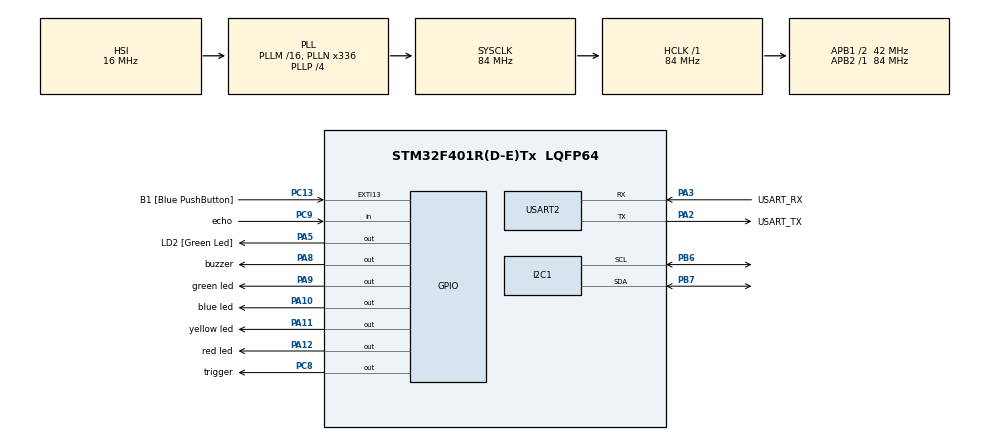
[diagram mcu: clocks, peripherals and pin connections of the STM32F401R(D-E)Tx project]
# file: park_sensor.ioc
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Mcu.Family=STM32F4
Mcu.Name=STM32F401R(D-E)Tx
Mcu.Package=LQFP64
NVIC.PriorityGroup=NVIC_PRIORITYGROUP_0
PA10.GPIO_Label=blue led
PA10.Signal=GPIO_Output
PA11.GPIO_Label=yellow led
PA11.Signal=GPIO_Output
PA12.GPIO_Label=red led
PA12.Signal=GPIO_Output
PA13.GPIO_Label=TMS
PA13.Mode=Serial_Wire
PA13.Signal=SYS_JTMS-SWDIO
PA14.GPIO_Label=TCK
PA14.Mode=Serial_Wire
PA14.Signal=SYS_JTCK-SWCLK
PA2.GPIO_Label=USART_TX
PA2.GPIO_Mode=GPIO_MODE_AF_PP
PA2.GPIO_PuPd=GPIO_NOPULL
PA2.GPIO_Speed=GPIO_SPEED_FREQ_LOW
PA2.Mode=Asynchronous
PA2.Signal=USART2_TX
PA3.GPIO_Label=USART_RX
PA3.GPIO_Mode=GPIO_MODE_AF_PP
PA3.GPIO_PuPd=GPIO_NOPULL
PA3.GPIO_Speed=GPIO_SPEED_FREQ_LOW
PA3.Mode=Asynchronous
PA3.Signal=USART2_RX
PA5.GPIO_Label=LD2 [Green Led]
PA5.GPIO_Mode=GPIO_MODE_OUTPUT_PP
PA5.GPIO_PuPd=GPIO_NOPULL
PA5.GPIO_Speed=GPIO_SPEED_FREQ_LOW
PA5.Signal=GPIO_Output
PA8.GPIO_Label=buzzer
PA8.Signal=GPIO_Output
PA9.GPIO_Label=green led
PA9.Signal=GPIO_Output
PB3.GPIO_Label=SWO
PB3.Signal=SYS_JTDO-SWO
PB6.Mode=I2C
PB6.Signal=I2C1_SCL
PB7.Mode=I2C
PB7.Signal=I2C1_SDA
PC13-ANTI_TAMP.GPIO_Label=B1 [Blue PushButton]
PC13-ANTI_TAMP.GPIO_ModeDefaultEXTI=GPIO_MODE_IT_FALLING
PC13-ANTI_TAMP.GPIO_PuPd=GPIO_NOPULL
PC13-ANTI_TAMP.Signal=GPXTI13
PC14-OSC32_IN.Mode=LSE-External-Oscillator
PC14-OSC32_IN.Signal=RCC_OSC32_IN
PC15-OSC32_OUT.Mode=LSE-External-Oscillator
PC15-OSC32_OUT.Signal=RCC_OSC32_OUT
PC8.GPIO_Label=trigger
PC8.Signal=GPIO_Output
PC9.GPIO_Label=echo
PC9.Signal=GPIO_Input
PH0\ -\ OSC_IN.Mode=HSE-External-Clock-Source
PH0\ -\ OSC_IN.Signal=RCC_OSC_IN
PH1\ -\ OSC_OUT.Mode=HSE-External-Clock-Source
PH1\ -\ OSC_OUT.Signal=RCC_OSC_OUT
ProjectManager.HeapSize=0x200
ProjectManager.StackSize=0x400
ProjectManager.TargetToolchain=STM32CubeIDE
RCC.48MHZClocksFreq_Value=48000000
RCC.AHBFreq_Value=84000000
RCC.APB1CLKDivider=RCC_HCLK_DIV2
RCC.APB1Freq_Value=42000000
RCC.APB1TimFreq_Value=84000000
RCC.APB2Freq_Value=84000000
RCC.APB2TimFreq_Value=84000000
RCC.CortexFreq_Value=84000000
RCC.HCLKFreq_Value=84000000
RCC.HSE_VALUE=8000000
RCC.HSI_VALUE=16000000
RCC.PLLN=336
RCC.PLLP=RCC_PLLP_DIV4
RCC.PLLQ=7
RCC.SYSCLKFreq_VALUE=84000000
RCC.SYSCLKSource=RCC_SYSCLKSOURCE_PLLCLK
RCC.VCOOutputFreq_Value=336000000
USART2.VirtualMode=VM_ASYNC
board=NUCLEO-F401RE

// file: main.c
/* USER CODE BEGIN Header */
/**
  ******************************************************************************
  * @file           : main.c
  * @brief          : Main program body
  ******************************************************************************
  * @attention
  *
  * Copyright (c) 2024 STMicroelectronics.
  * All rights reserved.
  *
  * This software is licensed under terms that can be found in the LICENSE file
  * in the root directory of this software component.
  * If no LICENSE file comes with this software, it is provided AS-IS.
  *
  ******************************************************************************
  */
/* USER CODE END Header */
#include "main.h"

/* USER CODE BEGIN Includes */
#include "string.h"
#include "lcd16x2_i2c.h"
#include "dwt_stm32_delay.h"
#include <stdbool.h>
/* USER CODE END Includes */

I2C_HandleTypeDef hi2c1;

UART_HandleTypeDef huart2;

/* USER CODE BEGIN PV */
uint32_t sensor_data;
uint32_t mesafe;
/* USER CODE END PV */

void SystemClock_Config(void);
static void MX_GPIO_Init(void);
static void MX_USART2_UART_Init(void);
static void MX_I2C1_Init(void);

/* USER CODE BEGIN 0 */
char mesafe_str[15];
uint32_t Read_sensor() {
	uint32_t time=0;

	HAL_GPIO_WritePin(GPIOC, GPIO_PIN_8,GPIO_PIN_SET);
	DWT_Delay_us(10);
	HAL_GPIO_WritePin(GPIOC, GPIO_PIN_8,GPIO_PIN_RESET);
	while (!HAL_GPIO_ReadPin(GPIOC, GPIO_PIN_9));
	while (HAL_GPIO_ReadPin(GPIOC, GPIO_PIN_9)) {
		time++;
		DWT_Delay_us(1);
	}
	return time;
}
/* USER CODE END 0 */

int main(void)
{

  /* MCU Configuration--------------------------------------------------------*/

  /* Reset of all peripherals, Initializes the Flash interface and the Systick. */
  HAL_Init();

  /* Configure the system clock */
  SystemClock_Config();

  /* Initialize all configured peripherals */
  MX_GPIO_Init();
  MX_USART2_UART_Init();
  MX_I2C1_Init();
  DWT_Delay_Init();
  lcd16x2_i2c_init(&hi2c1);
  /* USER CODE BEGIN 2 */
 void ekran() {
	 lcd16x2_i2c_printf(mesafe_str);
		  HAL_Delay(200);
		  lcd16x2_i2c_sethome();
		  HAL_Delay(100);
		  lcd16x2_i2c_clear();

 }
 void buzzer(int a) {
	   static bool d = true; // d değişkenini fonksiyon çağrıları arasında saklamak için static olarak tanımlıyoruz
	    static uint32_t last_time = 0; // fonksiyon ilk çağrıldığında zamanı sıfırlıyoruz
	    uint32_t current_time = HAL_GetTick();
	    if(current_time - last_time >= a) {
	        if (d ==0) {
	        	d=1;
	        } else {
	        	d=0;
	        }
	        HAL_GPIO_WritePin(GPIOA, buzzer_Pin, d);
	        last_time = current_time; // son zamanı güncelliyoruz
	    }
	 }

  /* USER CODE END 2 */

  /* Infinite loop */
  /* USER CODE BEGIN WHILE */
  lcd16x2_i2c_clear();
  while (1)
  {

    /* USER CODE END WHILE */

    /* USER CODE BEGIN 3 */

	  sensor_data = Read_sensor();
	  mesafe = sensor_data*0.034/2;
	  sprintf(mesafe_str, "mesafe: %u", mesafe);
	  lcd16x2_i2c_printf(mesafe_str);
	  lcd16x2_i2c_sethome();
	  HAL_Delay(100);
	  lcd16x2_i2c_clear();
	  if (mesafe <= 5) {
	      HAL_GPIO_WritePin(GPIOA, red_led_Pin | yellow_led_Pin | blue_led_Pin | green_led_Pin, GPIO_PIN_SET);
	      ekran();
	      HAL_GPIO_WritePin(GPIOA, buzzer_Pin, 1);
	  } else if (mesafe > 5 && mesafe <= 10) {
	      HAL_GPIO_WritePin(GPIOA, yellow_led_Pin | blue_led_Pin | green_led_Pin, GPIO_PIN_SET);
	      HAL_GPIO_WritePin(GPIOA, red_led_Pin, GPIO_PIN_RESET);
	      buzzer(200);
	  } else if (mesafe > 10 && mesafe <= 15) {
	      HAL_GPIO_WritePin(GPIOA, blue_led_Pin | green_led_Pin, GPIO_PIN_SET);
	      HAL_GPIO_WritePin(GPIOA, yellow_led_Pin | red_led_Pin, GPIO_PIN_RESET);
	      buzzer(500);
	  } else if (mesafe > 15 && mesafe <= 20) {
	      HAL_GPIO_WritePin(GPIOA, green_led_Pin, GPIO_PIN_SET);
	      HAL_GPIO_WritePin(GPIOA, yellow_led_Pin | blue_led_Pin | red_led_Pin, GPIO_PIN_RESET);
	      buzzer(700);
	  } else {
	      HAL_GPIO_WritePin(GPIOA, red_led_Pin | yellow_led_Pin | blue_led_Pin | green_led_Pin, GPIO_PIN_RESET);
	      HAL_GPIO_WritePin(GPIOA, buzzer_Pin, GPIO_PIN_RESET);

	  }

  }
  /* USER CODE END 3 */
}

void SystemClock_Config(void)
{
  RCC_OscInitTypeDef RCC_OscInitStruct = {0};
  RCC_ClkInitTypeDef RCC_ClkInitStruct = {0};

  /** Configure the main internal regulator output voltage
  */
  __HAL_RCC_PWR_CLK_ENABLE();
  __HAL_PWR_VOLTAGESCALING_CONFIG(PWR_REGULATOR_VOLTAGE_SCALE2);

  /** Initializes the RCC Oscillators according to the specified parameters
  * in the RCC_OscInitTypeDef structure.
  */
  RCC_OscInitStruct.OscillatorType = RCC_OSCILLATORTYPE_HSI;
  RCC_OscInitStruct.HSIState = RCC_HSI_ON;
  RCC_OscInitStruct.HSICalibrationValue = RCC_HSICALIBRATION_DEFAULT;
  RCC_OscInitStruct.PLL.PLLState = RCC_PLL_ON;
  RCC_OscInitStruct.PLL.PLLSource = RCC_PLLSOURCE_HSI;
  RCC_OscInitStruct.PLL.PLLM = 16;
  RCC_OscInitStruct.PLL.PLLN = 336;
  RCC_OscInitStruct.PLL.PLLP = RCC_PLLP_DIV4;
  RCC_OscInitStruct.PLL.PLLQ = 7;
  if (HAL_RCC_OscConfig(&RCC_OscInitStruct) != HAL_OK)
  {
    Error_Handler();
  }

  /** Initializes the CPU, AHB and APB buses clocks
  */
  RCC_ClkInitStruct.ClockType = RCC_CLOCKTYPE_HCLK|RCC_CLOCKTYPE_SYSCLK
                              |RCC_CLOCKTYPE_PCLK1|RCC_CLOCKTYPE_PCLK2;
  RCC_ClkInitStruct.SYSCLKSource = RCC_SYSCLKSOURCE_PLLCLK;
  RCC_ClkInitStruct.AHBCLKDivider = RCC_SYSCLK_DIV1;
  RCC_ClkInitStruct.APB1CLKDivider = RCC_HCLK_DIV2;
  RCC_ClkInitStruct.APB2CLKDivider = RCC_HCLK_DIV1;

  if (HAL_RCC_ClockConfig(&RCC_ClkInitStruct, FLASH_LATENCY_2) != HAL_OK)
  {
    Error_Handler();
  }
}

static void MX_I2C1_Init(void)
{

  hi2c1.Instance = I2C1;
  hi2c1.Init.ClockSpeed = 100000;
  hi2c1.Init.DutyCycle = I2C_DUTYCYCLE_2;
  hi2c1.Init.OwnAddress1 = 0;
  hi2c1.Init.AddressingMode = I2C_ADDRESSINGMODE_7BIT;
  hi2c1.Init.DualAddressMode = I2C_DUALADDRESS_DISABLE;
  hi2c1.Init.OwnAddress2 = 0;
  hi2c1.Init.GeneralCallMode = I2C_GENERALCALL_DISABLE;
  hi2c1.Init.NoStretchMode = I2C_NOSTRETCH_DISABLE;
  if (HAL_I2C_Init(&hi2c1) != HAL_OK)
  {
    Error_Handler();
  }

}

static void MX_USART2_UART_Init(void)
{

  huart2.Instance = USART2;
  huart2.Init.BaudRate = 115200;
  huart2.Init.WordLength = UART_WORDLENGTH_8B;
  huart2.Init.StopBits = UART_STOPBITS_1;
  huart2.Init.Parity = UART_PARITY_NONE;
  huart2.Init.Mode = UART_MODE_TX_RX;
  huart2.Init.HwFlowCtl = UART_HWCONTROL_NONE;
  huart2.Init.OverSampling = UART_OVERSAMPLING_16;
  if (HAL_UART_Init(&huart2) != HAL_OK)
  {
    Error_Handler();
  }

}

static void MX_GPIO_Init(void)
{
  GPIO_InitTypeDef GPIO_InitStruct = {0};

  /* GPIO Ports Clock Enable */
  __HAL_RCC_GPIOC_CLK_ENABLE();
  __HAL_RCC_GPIOH_CLK_ENABLE();
  __HAL_RCC_GPIOA_CLK_ENABLE();
  __HAL_RCC_GPIOB_CLK_ENABLE();

  /*Configure GPIO pin Output Level */
  HAL_GPIO_WritePin(GPIOA, LD2_Pin|buzzer_Pin|green_led_Pin|blue_led_Pin
                          |yellow_led_Pin|red_led_Pin, GPIO_PIN_RESET);

  /*Configure GPIO pin Output Level */
  HAL_GPIO_WritePin(trigger_GPIO_Port, trigger_Pin, GPIO_PIN_RESET);

  /*Configure GPIO pin : B1_Pin */
  GPIO_InitStruct.Pin = B1_Pin;
  GPIO_InitStruct.Mode = GPIO_MODE_IT_FALLING;
  GPIO_InitStruct.Pull = GPIO_NOPULL;
  HAL_GPIO_Init(B1_GPIO_Port, &GPIO_InitStruct);

  /*Configure GPIO pins : LD2_Pin buzzer_Pin green_led_Pin blue_led_Pin
                           yellow_led_Pin red_led_Pin */
  GPIO_InitStruct.Pin = LD2_Pin|buzzer_Pin|green_led_Pin|blue_led_Pin
                          |yellow_led_Pin|red_led_Pin;
  GPIO_InitStruct.Mode = GPIO_MODE_OUTPUT_PP;
  GPIO_InitStruct.Pull = GPIO_NOPULL;
  GPIO_InitStruct.Speed = GPIO_SPEED_FREQ_LOW;
  HAL_GPIO_Init(GPIOA, &GPIO_InitStruct);

  /*Configure GPIO pin : trigger_Pin */
  GPIO_InitStruct.Pin = trigger_Pin;
  GPIO_InitStruct.Mode = GPIO_MODE_OUTPUT_PP;
  GPIO_InitStruct.Pull = GPIO_NOPULL;
  GPIO_InitStruct.Speed = GPIO_SPEED_FREQ_LOW;
  HAL_GPIO_Init(trigger_GPIO_Port, &GPIO_InitStruct);

  /*Configure GPIO pin : echo_Pin */
  GPIO_InitStruct.Pin = echo_Pin;
  GPIO_InitStruct.Mode = GPIO_MODE_INPUT;
  GPIO_InitStruct.Pull = GPIO_NOPULL;
  HAL_GPIO_Init(echo_GPIO_Port, &GPIO_InitStruct);

}

void Error_Handler(void)
{
  __disable_irq();
  while (1)
  {
  }
}
